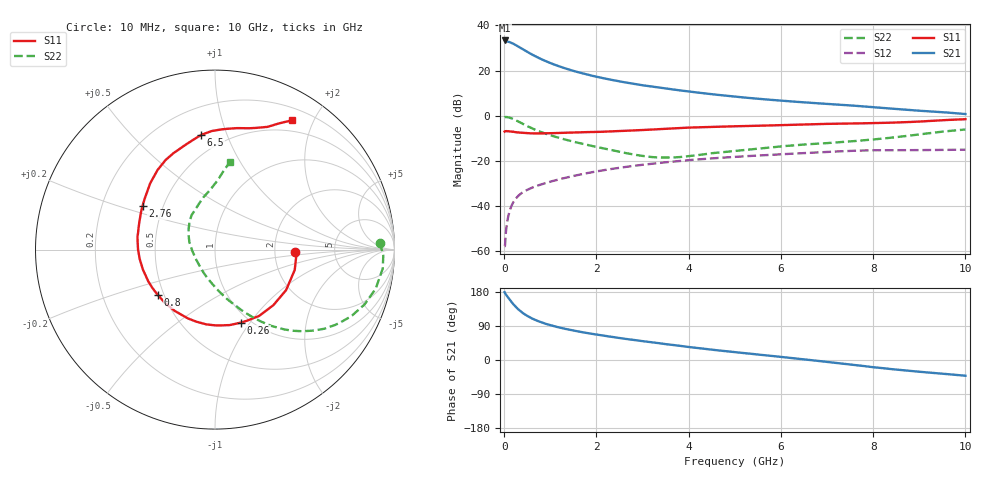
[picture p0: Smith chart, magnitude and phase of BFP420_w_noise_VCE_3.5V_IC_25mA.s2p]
! Infineon Technologies  Discrete & RF Semiconductors
! BFP420
! VCE =  3.5 V,  IC =  25 mA
! Common Emitter S-Parameters:  Jan 2016
# GHz  S  MA  R  50
!  f  S11  S21  S12  S22
! GHz  MAG  ANG  MAG  ANG  MAG  ANG  MAG  ANG
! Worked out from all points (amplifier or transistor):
!   233 points, 10 MHz to 10 GHz, reference 50 ohm
!   highest |S21| = 33.3 dB at 10 MHz (marker M1)
!   |S21| within 3 dB of that: start of sweep to 331.5 MHz
!   unconditionally stable (mu >= 1): start of sweep to 15.83 MHz; 1.692 GHz to end of sweep
!   at 200 MHz: K = 0.30, MSG = 35.0 dB, |S12| = -38.2 dB
!   at 1.74 GHz: K = 1.01, MAG = 21.5 dB, |S12| = -25.6 dB
!   at 10 GHz: K = 1.06, MAG = 6.3 dB, |S12| = -15.0 dB
!   lowest NFmin = 1.38 dB at 900 MHz
!   S11 on the Smith chart (normalised r, x): 10 MHz: 2.61, -0.10; 260 MHz: 0.91, -0.91; 800 MHz: 0.46, -0.28; 2.76 GHz: 0.38, +0.24; 6.5 GHz: 0.37, +0.82; 10 GHz: 0.35, +1.71
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0.01  0.4462 -2.0  46.35 178.8  0.0013 86.9  0.9191 2.4
0.02  0.4541 -5.4  45.05 175.9  0.0014 74.1  0.9382 -2.0
0.06  0.4553 -17.3  44.19 169.1  0.0041 77.6  0.9356 -7.8
0.1  0.4559 -29.7  43.37 162.3  0.0066 76.9  0.9217 -13.6
0.15  0.449 -43.5  41.43 154.3  0.0096 73.3  0.8872 -20.2
0.2  0.4439 -56.4  39.19 147.0  0.0123 69.7  0.8447 -26.1
0.26  0.4317 -70.3  36.15 139.2  0.015 66.4  0.7891 -32.2
0.36  0.4219 -90.2  31.53 128.3  0.0188 62.0  0.698 -40.4
0.5  0.412 -111.6  25.92 116.4  0.023 58.6  0.5895 -49.0
0.6  0.4087 -123.4  22.74 109.8  0.0255 57.2  0.5279 -53.6
0.8  0.407 -141.4  17.96 99.6  0.0301 56.2  0.4356 -60.5
1  0.4117 -154.6  14.68 91.8  0.0347 55.9  0.3701 -66.2
1.2  0.4168 -164.7  12.31 85.5  0.0393 55.7  0.3213 -71.3
1.68  0.4308 177.2  8.778 73.7  0.0507 54.3  0.2417 -83.0
2.2  0.4453 162.5  6.608 63.4  0.0634 51.3  0.1845 -96.9
2.76  0.4707 149.1  5.182 53.7  0.0766 47.1  0.1416 -117.6
3.4  0.5086 136.3  4.135 43.7  0.091 41.6  0.1189 -149.0
5.1  0.5874 112.2  2.589 19.5  0.1249 26.0  0.1702 149.7
6.5  0.644 96.8  1.979 1.6  0.1493 13.4  0.2317 124.4
6.8  0.6535 93.6  1.886 -2.3  0.1547 10.5  0.2409 119.5
8.4  0.7026 74.2  1.438 -24.1  0.1729 -7.2  0.3273 95.9
10  0.8389 59.2  1.091 -41.5  0.1773 -19.6  0.4964 80.2
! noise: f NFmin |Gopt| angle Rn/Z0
0.9  1.38  0.22  -154  0.13
1.8  1.65  0.29  -143  0.13
2.4  1.81  0.26  -138  0.17
3  1.83  0.34  -129  0.18
4  1.97  0.45  -112  0.27
5  2.4  0.49  -95  0.44
6  2.85  0.54  -84  0.65
